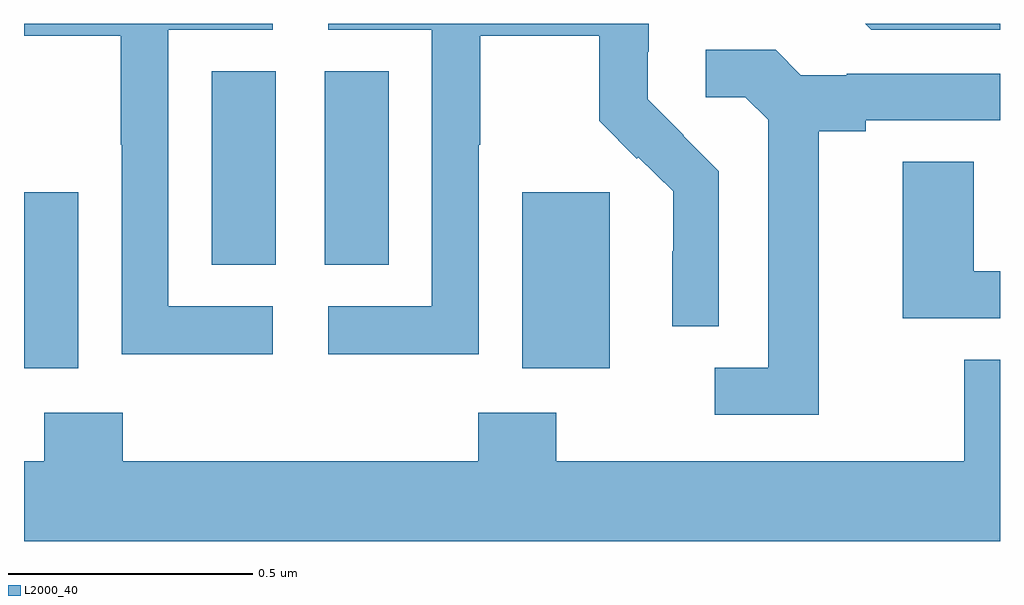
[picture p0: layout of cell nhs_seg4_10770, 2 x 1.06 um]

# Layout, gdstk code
import gdstk
lib = gdstk.Library(unit=1e-6, precision=1e-09)
def R(c, l, rs):  # rectangles x0, y0, x1, y1
    for r in rs: c.add(gdstk.rectangle(r[:2], r[2:], *l))
def P(c, l, *ps):  # polygons
    for p in ps: c.add(gdstk.Polygon(p, *l))
L2000_40 = (2000, 40)

nhs_seg4_10770 = lib.new_cell('nhs_seg4_10770')
R(nhs_seg4_10770, L2000_40, [(244,777.194,244.111,777.555), (245.021,777.194,245.2,777.555), (244.385,777.406,244.516,777.803), (244.616,777.406,244.747,777.803)])
P(nhs_seg4_10770, L2000_40, [(244.51,777.321),(244.296,777.321),(244.296,777.888),(244.51,777.888),(244.51,777.9),(244,777.9),(244,777.876),(244.198,777.876),(244.198,777.652),(244.2,777.652),(244.2,777.223),(244.51,777.223)],
  [(244.932,777.652),(244.935,777.652),(244.935,777.876),(245.179,777.876),(245.179,777.701),(245.256,777.624),(245.259,777.627),(245.33,777.557),(245.33,777.434),(245.328,777.434),(245.328,777.28),(245.424,777.28),(245.424,777.598),(245.351,777.671),(245.352,777.672),(245.278,777.746),(245.278,777.843),(245.28,777.843),(245.28,777.9),(244.623,777.9),(244.623,777.888),(244.836,777.888),(244.836,777.321),(244.623,777.321),(244.623,777.223),(244.932,777.223)],
  [(246,777.9),(245.724,777.9),(245.736,777.888),(246,777.888)],
  [(245.629,777.68),(245.725,777.68),(245.725,777.702),(246,777.702),(246,777.798),(245.686,777.798),(245.686,777.795),(245.592,777.795),(245.54,777.847),(245.397,777.847),(245.397,777.75),(245.478,777.75),(245.525,777.703),(245.525,777.195),(245.415,777.195),(245.415,777.099),(245.629,777.099)],
  [(246,777.393),(245.946,777.393),(245.946,777.617),(245.801,777.617),(245.801,777.297),(246,777.297)],
  [(246,777.212),(245.927,777.212),(245.927,777.004),(245.091,777.004),(245.091,777.103),(244.931,777.103),(244.931,777.004),(244.202,777.004),(244.202,777.103),(244.042,777.103),(244.042,777.004),(244,777.004),(244,776.84),(246,776.84)])

lib.write_gds('nhs_seg4_10770.gds')
